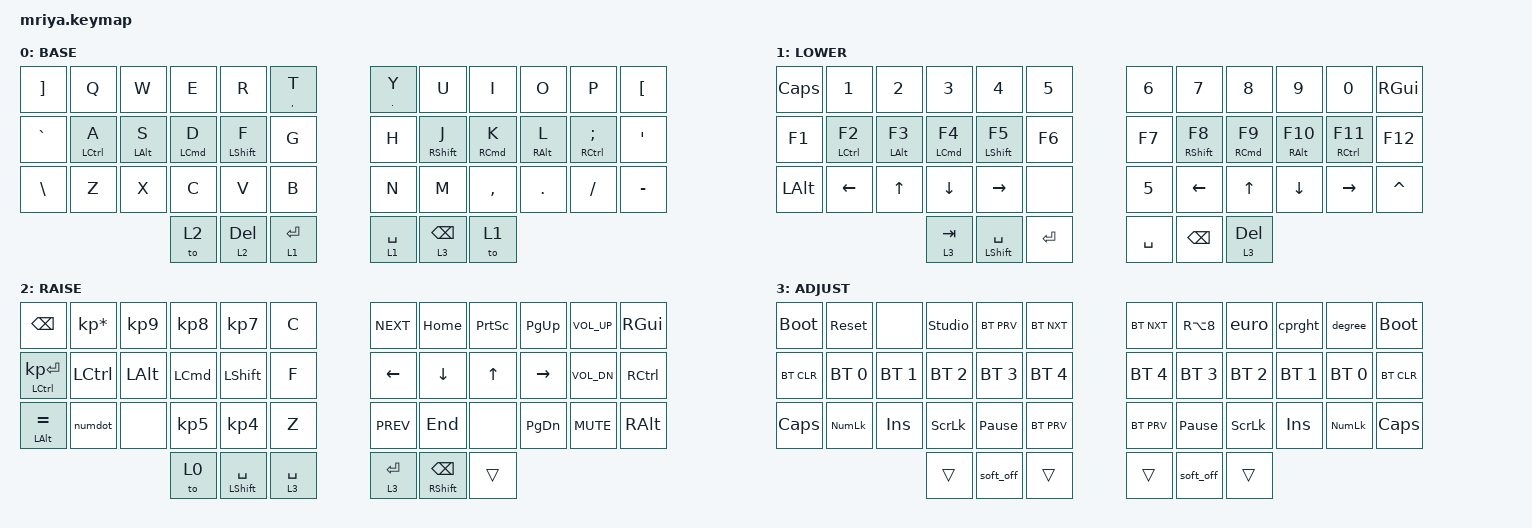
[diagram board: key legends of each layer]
/*
 * Copyright (c) 2020 The ZMK Contributors
 *
 * SPDX-License-Identifier: MIT
 */

#include <behaviors.dtsi>
#include <dt-bindings/zmk/bt.h>
#include <dt-bindings/zmk/keys.h>

#define BASE   0
#define LOWER  1
#define RAISE  2
#define ADJUST 3
#define NAVI   4

&lt {
    flavor = "balanced";
    tapping-term-ms = <220>;
    quick-tap-ms = <175>;
};

&mt {
    flavor = "balanced";
    tapping-term-ms = <280>;
    quick-tap-ms = <175>;
};

/ {
    macros {
        numdot: numdot {
            label = "ZM_numdot";
            compatible = "zmk,behavior-macro";
            #binding-cells = <0>;
            wait-ms = <40>;
            tap-ms = <40>;
            bindings =
                <&macro_press>,
                <&kp LALT>,
                <&macro_tap>,
                <&kp KP_N4 &kp KP_N6>,
                <&macro_release>,
                <&kp LALT>;
        };

        grtsgn: grtsgn {
            label = "ZM_grtsgn";
            compatible = "zmk,behavior-macro";
            #binding-cells = <0>;
            wait-ms = <40>;
            tap-ms = <40>;
            bindings =
                <&macro_press>,
                <&kp LALT>,
                <&macro_tap>,
                <&kp KP_N6 &kp KP_N2>,
                <&macro_release>,
                <&kp LALT>;
        };

        cprght: cprght {
            label = "ZM_cprght";
            compatible = "zmk,behavior-macro";
            #binding-cells = <0>;
            wait-ms = <40>;
            tap-ms = <40>;
            bindings =
                <&macro_press>,
                <&kp LALT>,
                <&macro_tap>,
                <&kp KP_N0 &kp KP_N1 &kp KP_N6 &kp KP_N9>,
                <&macro_release>,
                <&kp LALT>;
        };

        degree: degree {
            label = "ZM_degree";
            compatible = "zmk,behavior-macro";
            #binding-cells = <0>;
            wait-ms = <40>;
            tap-ms = <40>;
            bindings =
                <&macro_press>,
                <&kp LALT>,
                <&macro_tap>,
                <&kp KP_N0 &kp KP_N1 &kp KP_N7 &kp KP_N6>,
                <&macro_release>,
                <&kp LALT>;
        };

        quote: quote {
            label = "ZM_quote";
            compatible = "zmk,behavior-macro";
            #binding-cells = <0>;
            wait-ms = <40>;
            tap-ms = <40>;
            bindings =
                <&macro_press>,
                <&kp LALT>,
                <&macro_tap>,
                <&kp KP_N3 &kp KP_N4>,
                <&macro_release>,
                <&kp LALT>;
        };

        euro: euro {
            label = "ZM_euro";
            compatible = "zmk,behavior-macro";
            #binding-cells = <0>;
            wait-ms = <40>;
            tap-ms = <40>;
            bindings =
                <&macro_press>,
                <&kp LALT>,
                <&macro_tap>,
                <&kp KP_N0 &kp KP_N1 &kp KP_N2 &kp KP_N8>,
                <&macro_release>,
                <&kp LALT>;
        };

        numcomma: numcomma {
            label = "ZM_numcomma";
            compatible = "zmk,behavior-macro";
            #binding-cells = <0>;
            wait-ms = <40>;
            tap-ms = <40>;
            bindings =
                <&macro_press>,
                <&kp LALT>,
                <&macro_tap>,
                <&kp KP_N4 &kp KP_N4>,
                <&macro_release>,
                <&kp LALT>;
        };

        lguillement: lguillement {
            label = "ZM_lguillement";
            compatible = "zmk,behavior-macro";
            #binding-cells = <0>;
            wait-ms = <40>;
            tap-ms = <40>;
            bindings =
                <&macro_press>,
                <&kp LALT>,
                <&macro_tap>,
                <&kp KP_N0 &kp KP_N1 &kp KP_N7 &kp KP_N1>,
                <&macro_release>,
                <&kp LALT>;
        };

        rguillement: rguillement {
            label = "ZM_rguillement";
            compatible = "zmk,behavior-macro";
            #binding-cells = <0>;
            wait-ms = <40>;
            tap-ms = <40>;
            bindings =
                <&macro_press>,
                <&kp LALT>,
                <&macro_tap>,
                <&kp KP_N0 &kp KP_N1 &kp KP_N8 &kp KP_N7>,
                <&macro_release>,
                <&kp LALT>;
        };

        lbracket: lbracket {
            label = "ZM_lbracket";
            compatible = "zmk,behavior-macro";
            #binding-cells = <0>;
            wait-ms = <40>;
            tap-ms = <40>;
            bindings =
                <&macro_press>,
                <&kp LALT>,
                <&macro_tap>,
                <&kp KP_N1 &kp KP_N2 &kp KP_N3>,
                <&macro_release>,
                <&kp LALT>;
        };

        rbracket: rbracket {
            label = "ZM_rbracket";
            compatible = "zmk,behavior-macro";
            #binding-cells = <0>;
            wait-ms = <40>;
            tap-ms = <40>;
            bindings =
                <&macro_press>,
                <&kp LALT>,
                <&macro_tap>,
                <&kp KP_N1 &kp KP_N2 &kp KP_N5>,
                <&macro_release>,
                <&kp LALT>;
        };

        colon: colon {
            label = "ZM_colon";
            compatible = "zmk,behavior-macro";
            #binding-cells = <0>;
            wait-ms = <40>;
            tap-ms = <40>;
            bindings =
                <&macro_press>,
                <&kp LALT>,
                <&macro_tap>,
                <&kp KP_N5 &kp KP_N8>,
                <&macro_release>,
                <&kp LALT>;
        };

        semicolon: semicolon {
            label = "ZM_semicolon";
            compatible = "zmk,behavior-macro";
            #binding-cells = <0>;
            wait-ms = <40>;
            tap-ms = <40>;
            bindings =
                <&macro_press>,
                <&kp LALT>,
                <&macro_tap>,
                <&kp KP_N5 &kp KP_N9>,
                <&macro_release>,
                <&kp LALT>;
        };

        question: question {
            label = "ZM_question";
            compatible = "zmk,behavior-macro";
            #binding-cells = <0>;
            wait-ms = <40>;
            tap-ms = <40>;
            bindings =
                <&macro_press>,
                <&kp LALT>,
                <&macro_tap>,
                <&kp KP_N6 &kp KP_N3>,
                <&macro_release>,
                <&kp LALT>;
        };

        lsqbracket: lsqbracket {
            label = "ZM_lsqbracket";
            compatible = "zmk,behavior-macro";
            #binding-cells = <0>;
            wait-ms = <40>;
            tap-ms = <40>;
            bindings =
                <&macro_press>,
                <&kp LALT>,
                <&macro_tap>,
                <&kp KP_N9 &kp KP_N1>,
                <&macro_release>,
                <&kp LALT>;
        };

        rsqbracket: rsqbracket {
            label = "ZM_rsqbracket";
            compatible = "zmk,behavior-macro";
            #binding-cells = <0>;
            wait-ms = <40>;
            tap-ms = <40>;
            bindings =
                <&macro_press>,
                <&kp LALT>,
                <&macro_tap>,
                <&kp KP_N9 &kp KP_N3>,
                <&macro_release>,
                <&kp LALT>;
        };
    };
};

/ {
    combos {
        compatible = "zmk,combos";

        combo_grave {
            timeout-ms = <50>;
            key-positions = <4 5>;
            bindings = <&kp GRAVE>;
        };

        combo_esc_right {
            timeout-ms = <50>;
            key-positions = <31 32>;
            bindings = <&kp ESC>;
        };

        combo_esc_left {
            timeout-ms = <50>;
            key-positions = <27 28>;
            bindings = <&kp ESC>;
        };

        combo_equal {
            timeout-ms = <50>;
            key-positions = <3 4>;
            bindings = <&kp EQUAL>;
        };

        combo_caps {
            bindings = <&kp CAPS>;
            key-positions = <12 13>;
        };

        combo_left_tab {
            bindings = <&kp TAB>;
            key-positions = <0 1>;
        };

        combo_right_parenthesis {
            bindings = <&kp RIGHT_PARENTHESIS>;
            key-positions = <18 19>;
        };

        combo_left_parenthesis {
            bindings = <&kp LEFT_PARENTHESIS>;
            key-positions = <16 17>;
        };
    };
};

/ {
    keymap {
        compatible = "zmk,keymap";

        // ▄▄▄▄▄▄▄▄▄▄▄▄▄▄▄▄▄▄▄▄▄▄▄▄▄▄▄▄▄▄▄▄▄▄▄▄▄▄▄▄▄▄▄▄▄▄▄▄▄▄▄▄▄▄▄▄▄▄▄▄▄▄▄▄▄▄▄▄▄▄▄▄▄▄▄▄▄▄▄▄▄▄▄▄▄▄▄▄▄▄▄▄▄▄▄▄▄▄▄▄▄▄▄▄▄▄▄▄▄▄▄▄▄▄

        base {
            // ┌────────────────────────────────────────────┐

            label = "BASE";

            // └────────────────────────────────────────────┘
            /*
┌───────┬───────┬───────┬───────┬───────┬───────┐                   ┌───────┬───────┬───────┬───────┬───────┬───────┐
│   ]   │   Q   │   W   │   E   │   R   │   T   │                   │   Y   │   U   │   I   │   O   │   P   │   [   │
├───────┼───────┼───────┼───────┼───────┼───────┤                   ├───────┼───────┼───────┼───────┼───────┼───────┤                      
│   `   │   A   │   S   │   D   │   F   │   G   │                   │   H   │   J   │   K   │   L   │   ;   │   '   │
├───────┼───────┼───────┼───────┼───────┼───────┤                   ├───────┼───────┼───────┼───────┼───────┼───────┤
│   \   │ Z/NAV │   X   │   C   │   V   │   B   │                   │   N   │   M   │   ,   │   .   │   /   │   -   │
└───────┴───────┴───────┴───────┼───────┼───────┼───────┐   ┌───────┼───────┼───────┼───────┴───────┴───────┴───────┘
                                │ RAISE │ SPACE │ LOWER │   │ LOWER │  BKSP │ RAISE │
                                └───────┴───────┴───────┘   └───────┴───────┴───────┘   
*/

            bindings = <
&kp RBKT   &kp Q        &kp W       &kp E               &kp R        &mt COMMA T                           &mt DOT Y   &kp U        &kp I                &kp O       &kp P                   &kp LBKT
&kp GRAVE  &mt LCTRL A  &mt LALT S  &mt LEFT_COMMAND D  &mt LSHFT F  &kp G                                 &kp H       &mt RSHFT J  &mt RIGHT_COMMAND K  &mt RALT L  &mt RIGHT_CONTROL SEMI  &kp SQT
&kp BSLH   &kp Z        &kp X       &kp C               &kp V        &kp B                                 &kp N       &kp M        &kp COMMA            &kp DOT     &kp FSLH                &kp MINUS
                                                        &to 2        &lt 2 DELETE  &lt 1 RET  &lt 1 SPACE  &lt 3 BSPC  &to 1
            >;
        };

        // ▄▄▄▄▄▄▄▄▄▄▄▄▄▄▄▄▄▄▄▄▄▄▄▄▄▄▄▄▄▄▄▄▄▄▄▄▄▄▄▄▄▄▄▄▄▄▄▄▄▄▄▄▄▄▄▄▄▄▄▄▄▄▄▄▄▄▄▄▄▄▄▄▄▄▄▄▄▄▄▄▄▄▄▄▄▄▄▄▄▄▄▄▄▄▄▄▄▄▄▄▄▄▄▄▄▄▄▄▄▄▄▄▄▄

        lower_layer {
            // ┌────────────────────────────────────────────┐

            label = "LOWER";

            // └────────────────────────────────────────────┘
            /*
┌───────┬───────┬───────┬───────┬───────┬───────┐                   ┌───────┬───────┬───────┬───────┬───────┬───────┐
│ CAPS  │  F10  │  F9   │  F8   │  F7   │   ~   │                   │   !   │   @   │   #   │   $   │   %   │ RGUI  │
├───────┼───────┼───────┼───────┼───────┼───────┤                   ├───────┼───────┼───────┼───────┼───────┼───────┤                      
│ CTRL  │  F11  │  F3   │  F2   │  F1   │ MENU  │                   │   :   │   ?   │   *   │   (   │   )   │   &   │
├───────┼───────┼───────┼───────┼───────┼───────┤                   ├───────┼───────┼───────┼───────┼───────┼───────┤
│ LALT  │  F12  │  F6   │  F5   │  F4   │ LANG  │                   │   \   │   «   │   »   │   {   │   }   │   ^   │
└───────┴───────┴───────┴───────┼───────┼───────┼───────┐   ┌───────┼───────┼───────┼───────┴───────┴───────┴───────┘
                                │  ADJ  │ LSHFT │   ▼   │   │   ▼   │ RSHFT │  ADJ  │
                                └───────┴───────┴───────┘   └───────┴───────┴───────┘   
*/

            bindings = <
&kp CAPS  &kp NUMBER_1  &kp NUMBER_2     &kp NUMBER_3         &kp NUMBER_4       &kp NUMBER_5                            &kp NUMBER_6   &kp NUMBER_7        &kp NUMBER_8          &kp NUMBER_9       &kp NUMBER_0   &kp RGUI
&kp F1    &mt LCTRL F2  &mt LEFT_ALT F3  &mt LEFT_COMMAND F4  &mt LEFT_SHIFT F5  &kp F6                                  &kp F7         &mt RIGHT_SHIFT F8  &mt RIGHT_COMMAND F9  &mt RIGHT_ALT F10  &mt RCTRL F11  &kp F12
&kp LALT  &kp LEFT      &kp UP           &kp DOWN             &kp RIGHT          &none                                   &kp N5         &kp LEFT            &kp UP                &kp DOWN           &kp RIGHT      &kp CARET
                                                              &lt 3 TAB          &mt LSHFT SPACE  &kp RETURN  &kp SPACE  &kp BACKSPACE  &lt 3 DEL
            >;
        };

        // ▄▄▄▄▄▄▄▄▄▄▄▄▄▄▄▄▄▄▄▄▄▄▄▄▄▄▄▄▄▄▄▄▄▄▄▄▄▄▄▄▄▄▄▄▄▄▄▄▄▄▄▄▄▄▄▄▄▄▄▄▄▄▄▄▄▄▄▄▄▄▄▄▄▄▄▄▄▄▄▄▄▄▄▄▄▄▄▄▄▄▄▄▄▄▄▄▄▄▄▄▄▄▄▄▄▄▄▄▄▄▄▄▄▄		

        raise_layer {
            // ┌────────────────────────────────────────────┐

            label = "RAISE";

            // └────────────────────────────────────────────┘
            /*
┌───────┬───────┬───────┬───────┬───────┬───────┐                   ┌───────┬───────┬───────┬───────┬───────┬───────┐
│ BKSP  │   *   │   9   │   8   │   7   │   +   │                   │ NEXT  │ VOLU  │ PSCRN │       │       │ RGUI  │
├───────┼───────┼───────┼───────┼───────┼───────┤                   ├───────┼───────┼───────┼───────┼───────┼───────┤                      
│ CTRL  │   /   │   3   │   2   │   1   │   0   │                   │ PLAY  │ VOLD  │       │       │       │ CTRL  │
├───────┼───────┼───────┼───────┼───────┼───────┤                   ├───────┼───────┼───────┼───────┼───────┼───────┤
│ ALT/= │   .   │   6   │   5   │   4   │   -   │                   │ PREV  │ MUTE  │       │       │       │ RALT  │
└───────┴───────┴───────┴───────┼───────┼───────┼───────┐   ┌───────┼───────┼───────┼───────┴───────┴───────┴───────┘
                                │   ▲   │ LSHFT │  ADJ  │   │  ADJ  │ RSHFT │   ▲   │
                                └───────┴───────┴───────┘   └───────┴───────┴───────┘  
*/

            bindings = <
&kp BSPC            &kp KP_MULTIPLY  &kp KP_N9     &kp KP_N8         &kp KP_N7       &kp C                                    &kp C_NEXT      &kp HOME  &kp PSCRN  &kp PG_UP  &kp C_VOL_UP  &kp RGUI
&mt LCTRL KP_ENTER  &kp LCTRL        &kp LEFT_ALT  &kp LEFT_COMMAND  &kp LEFT_SHIFT  &kp F                                    &kp LEFT        &kp DOWN  &kp UP     &kp RIGHT  &kp C_VOL_DN  &kp RCTRL
&mt LALT EQUAL      &numdot          &none         &kp KP_N5         &kp KP_N4       &kp Z                                    &kp C_PREV      &kp END   &none      &kp PG_DN  &kp C_MUTE    &kp RALT
                                                                     &to 0           &mt LSHFT SPACE  &lt 3 SPACE  &lt 3 RET  &mt RSHFT BSPC  &trans
            >;
        };

        // ▄▄▄▄▄▄▄▄▄▄▄▄▄▄▄▄▄▄▄▄▄▄▄▄▄▄▄▄▄▄▄▄▄▄▄▄▄▄▄▄▄▄▄▄▄▄▄▄▄▄▄▄▄▄▄▄▄▄▄▄▄▄▄▄▄▄▄▄▄▄▄▄▄▄▄▄▄▄▄▄▄▄▄▄▄▄▄▄▄▄▄▄▄▄▄▄▄▄▄▄▄▄▄▄▄▄▄▄▄▄▄▄▄▄

        adjust_layer {
            // ┌────────────────────────────────────────────┐

            label = "ADJUST";

            // └────────────────────────────────────────────┘
            /*
┌───────┬───────┬───────┬───────┬───────┬───────┐                   ┌───────┬───────┬───────┬───────┬───────┬───────┐
│ BLDR  │ RESET │       │STUDIO │       │BT NEXT│                   │BT NEXT│   ₽   │   €   │       │       │  BLDR │
├───────┼───────┼───────┼───────┼───────┼───────┤                   ├───────┼───────┼───────┼───────┼───────┼───────┤                      
│ BTCLR │  BT0  │  BT1  │  BT2  │  BT3  │  BT4  │                   │  BT4  │  BT3  │  BT2  │  BT1  │  BT0  │ BTCLR │
├───────┼───────┼───────┼───────┼───────┼───────┤                   ├───────┼───────┼───────┼───────┼───────┼───────┤
│ CAPS  │ NUMLK │  INS  │ SLCK  │ PAUSE │BT PREV│                   │BT PREV│ PAUSE │ SLCK  │  INS  │ NUMLK │ CAPS  │
└───────┴───────┴───────┴───────┼───────┼───────┼───────┐   ┌───────┼───────┼───────┼───────┴───────┴───────┴───────┘
                                │   ▲   │ POWER │   ▼   │   │   ▼   │ POWER │   ▲   │
                                └───────┴───────┴───────┘   └───────┴───────┴───────┘
*/

            bindings = <
&bootloader  &sys_reset    &none         &studio_unlock  &bt BT_PRV       &bt BT_NXT                    &bt BT_NXT    &kp RA(N8)       &euro         &cprght       &degree       &bootloader
&bt BT_CLR   &bt BT_SEL 0  &bt BT_SEL 1  &bt BT_SEL 2    &bt BT_SEL 3     &bt BT_SEL 4                  &bt BT_SEL 4  &bt BT_SEL 3     &bt BT_SEL 2  &bt BT_SEL 1  &bt BT_SEL 0  &bt BT_CLR
&kp CAPS     &kp KP_NUM    &kp INS       &kp SLCK        &kp PAUSE_BREAK  &bt BT_PRV                    &bt BT_PRV    &kp PAUSE_BREAK  &kp SLCK      &kp INS       &kp KP_NUM    &kp CAPS
                                                         &trans           &soft_off     &trans  &trans  &soft_off     &trans
            >;
        };

        // ▄▄▄▄▄▄▄▄▄▄▄▄▄▄▄▄▄▄▄▄▄▄▄▄▄▄▄▄▄▄▄▄▄▄▄▄▄▄▄▄▄▄▄▄▄▄▄▄▄▄▄▄▄▄▄▄▄▄▄▄▄▄▄▄▄▄▄▄▄▄▄▄▄▄▄▄▄▄▄▄▄▄▄▄▄▄▄▄▄▄▄▄▄▄▄▄▄▄▄▄▄▄▄▄▄▄▄▄▄▄▄▄▄▄		
    };
};
